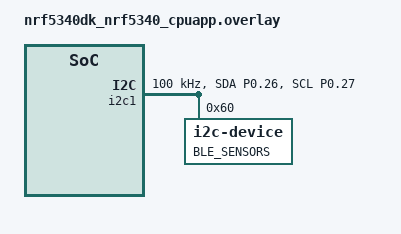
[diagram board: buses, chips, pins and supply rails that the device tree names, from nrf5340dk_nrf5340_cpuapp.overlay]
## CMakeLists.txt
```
cmake_minimum_required(VERSION 3.20)

# If the policy is passed via -D on the command line, 
# set it as an environment variable so child images inherit it.
if(CMAKE_POLICY_VERSION_MINIMUM)
    set(ENV{CMAKE_POLICY_VERSION_MINIMUM} ${CMAKE_POLICY_VERSION_MINIMUM})
endif()

find_package(Zephyr REQUIRED HINTS $ENV{ZEPHYR_BASE})
project(si1145_sample)

target_sources(app PRIVATE 
    src/main.c
    src/settings.c
)
```

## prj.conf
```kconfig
# Enable the I2C driver
CONFIG_I2C=y
CONFIG_SENSOR=y
CONFIG_SENSOR_ASYNC_API=y
CONFIG_SERIAL=y
CONFIG_UART_CONSOLE=y
CONFIG_SHELL=y
CONFIG_DEBUG_THREAD_INFO=y
CONFIG_PRINTK=y
CONFIG_CONSOLE=y
CONFIG_LOG=y

# --- Bluetooth ---
CONFIG_BT=y
CONFIG_BT_PERIPHERAL=y
CONFIG_BT_EXT_ADV=n
CONFIG_BT_BROADCASTER=y
#CONFIG_BT_DEVICE_NAME="BLE_FFF8"
CONFIG_BT_DEVICE_NAME_DYNAMIC=n
#CONFIG_BT_GATT=y

# --- Flash and settings ---
CONFIG_SETTINGS=y
CONFIG_SETTINGS_NVS=y
CONFIG_NVS=y
CONFIG_FLASH=y
CONFIG_FLASH_MAP=y
```

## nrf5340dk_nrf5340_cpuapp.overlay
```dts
/*
 * Devicetree overlay for the Si1145 sensor
 *
 * This overlay uses I2C1 to avoid conflict with UART0 on I2C0.
 */

&pinctrl {
	i2c1_default: i2c1_default {
		group1 {
			psels = <NRF_PSEL(TWIM_SDA, 0, 26)>,
					<NRF_PSEL(TWIM_SCL, 0, 27)>;
		};
	};
	i2c1_sleep: i2c1_sleep {
        group1 {
            psels = <NRF_PSEL(TWIM_SDA, 0, 26)>,
                    <NRF_PSEL(TWIM_SCL, 0, 27)>;
            low-power-enable;
        };
    };

};

&i2c1 {
    status = "okay";
    clock-frequency = <I2C_BITRATE_STANDARD>;
    pinctrl-0 = <&i2c1_default>;
    pinctrl-1 = <&i2c1_sleep>;
    pinctrl-names = "default", "sleep";

    uv_sensor: uv_sensor@60 {
        compatible = "i2c-device";
        reg = <0x60>;
        label = "BLE_SENSORS";
    };
};
```

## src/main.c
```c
/*
 * Copyright (c) 2012-2014 Wind River Systems, Inc.
 *
 * SPDX-License-Identifier: Apache-2.0
 */

#include <zephyr/kernel.h>
#include <zephyr/device.h>
#include <zephyr/drivers/sensor.h>
#include <zephyr/sys/printk.h>
#include <zephyr/drivers/i2c.h>
#include <zephyr/bluetooth/bluetooth.h>
#include <zephyr/bluetooth/conn.h>
#include <zephyr/bluetooth/gatt.h>
#include <zephyr/bluetooth/hci.h>
#include <zephyr/settings/settings.h>
#include "settings.h"

#define APP_FW_VERSION "0.1.0"
#define I2C_NODE DT_NODELABEL(i2c1)
#define AS7331_ADDR 0x74

#define BT_UUID_SERVICE_VAL 0xFFF8
#define BT_UUID_DATA_CHAR_VAL    0xFFF9
#define BT_UUID_CONFIG_CHAR_VAL    0xFFFA

static struct bt_uuid_16 ble_svc_uuid = BT_UUID_INIT_16(BT_UUID_SERVICE_VAL);
static struct bt_uuid_16 ble_data_chr_uuid = BT_UUID_INIT_16(BT_UUID_DATA_CHAR_VAL);
static struct bt_uuid_16 ble_config_chr_uuid = BT_UUID_INIT_16(BT_UUID_CONFIG_CHAR_VAL);

static char s_device_name[20];

// Bluetooth UV Service and Characteristic definitions would go here
static struct bt_conn *current_conn;
static bool notify_enabled;

static struct k_work_delayable adv_restart_work;

const struct bt_gatt_service_static ble_svc;

static int adv_start(void);

static void ccc_cfg_changed(const struct bt_gatt_attr *attr, uint16_t value)
{
	notify_enabled = (value == BT_GATT_CCC_NOTIFY);
	printk("Notify %s\n", notify_enabled ? "enabled" : "disabled");
}

static void connected(struct bt_conn *conn, uint8_t err)
{
	if (err) {
		printk("BLE connect failed (err %u)\n", err);
		return;
	}
	if (current_conn) {
		printk("Already connected, disconnecting new conn\n");
		bt_conn_disconnect(conn, BT_HCI_ERR_REMOTE_USER_TERM_CONN);
		return;
	}

	current_conn = bt_conn_ref(conn);
	printk("BLE connected\n");

	(void)bt_le_adv_stop();
	printk("Advertise stop\n");
}

static void disconnected(struct bt_conn *conn, uint8_t reason)
{
	printk("BLE disconnected (reason %u)\n", reason);
	notify_enabled = false;

	if (current_conn) {
		bt_conn_unref(current_conn);
		current_conn = NULL;
	}

	/* Restart advertising after 200 ms */
	k_work_reschedule(&adv_restart_work, K_MSEC(200));
}

BT_CONN_CB_DEFINE(conn_cb) = {
	.connected = connected,
	.disconnected = disconnected,
};

static uint8_t data_payload[20];
uint8_t config_payload[20];

BT_GATT_SERVICE_DEFINE(ble_svc,
	BT_GATT_PRIMARY_SERVICE(&ble_svc_uuid.uuid),
	BT_GATT_CHARACTERISTIC(&ble_data_chr_uuid.uuid,
			       BT_GATT_CHRC_NOTIFY,
			       BT_GATT_PERM_NONE,
			       NULL, NULL, data_payload),
	BT_GATT_CCC(ccc_cfg_changed,
		    BT_GATT_PERM_READ | BT_GATT_PERM_WRITE),
	BT_GATT_CHARACTERISTIC(&ble_config_chr_uuid.uuid,
			       BT_GATT_CHRC_READ | BT_GATT_CHRC_WRITE | BT_GATT_CHRC_NOTIFY,
			       BT_GATT_PERM_READ | BT_GATT_PERM_WRITE,
			       read_config, write_config, config_payload),
	BT_GATT_CCC(ccc_cfg_changed,
		    BT_GATT_PERM_READ | BT_GATT_PERM_WRITE),
);

/* Advertise service UUID so apps can filter */
static const struct bt_data ad[] = {
    BT_DATA_BYTES(BT_DATA_FLAGS, (BT_LE_AD_GENERAL | BT_LE_AD_NO_BREDR)),
    BT_DATA_BYTES(BT_DATA_UUID16_ALL, BT_UUID_16_ENCODE(BT_UUID_SERVICE_VAL)),
};

static struct bt_data s_sd[] = {
	BT_DATA(BT_DATA_NAME_COMPLETE,
    s_device_name,
    sizeof(s_device_name) - 1),
};


static void adv_restart_work_fn(struct k_work *work)
{
	int err = adv_start();
	if (err) {
		printk("adv restart failed: %d\n", err);
	}
}

static int adv_start(void)
{
	int err;

	/* If already advertising, stop first (safe if not advertising) */
	(void)bt_le_adv_stop();

	err = bt_le_adv_start(BT_LE_ADV_CONN,
			      ad, ARRAY_SIZE(ad),
			      s_sd, ARRAY_SIZE(s_sd));
	if (err) {
		printk("Advertising failed (err %d)\n", err);
		return err;
	}

	printk("Advertising started\n");
	return 0;
}

static int ble_init(void)
{
	int err = bt_enable(NULL);
	if (err) {
		printk("bt_enable failed (err %d)\n", err);
		return err;
	}

	printk("bt_enable success\n");
	printk("BLE name: %s\n", bt_get_name());

	return 0;
}

static void send_data_notify(uint16_t uva, uint16_t uvb, uint16_t uvc)
{
	if (!current_conn || !notify_enabled) {
		return;
	}

	/* little-endian packing example */
	data_payload[0] = (uint8_t)(0x15);
	data_payload[1] = (uint8_t)(2);
	data_payload[2] = (uint8_t)(uva & 0xFF);
	data_payload[3] = (uint8_t)(uva >> 8);
	data_payload[4] = (uint8_t)(0x16);
	data_payload[5] = (uint8_t)(2);
	data_payload[6] = (uint8_t)(uvb & 0xFF);
	data_payload[7] = (uint8_t)(uvb >> 8);
	data_payload[8] = (uint8_t)(0x17);
	data_payload[9] = (uint8_t)(2);
	data_payload[10] = (uint8_t)(uvc & 0xFF);
	data_payload[11] = (uint8_t)(uvc >> 8);

	int err = bt_gatt_notify(current_conn, &ble_svc.attrs[1], data_payload, 12);
	if (err) {
		/* -ENOTCONN if disconnected, -EACCES if CCC off, etc */
		printk("notify err=%d\n", err);
	}
}

int main(void)
{
    const struct device *i2c_dev;
    int ret;
	int err;

	printk("Boot ver %s\n", APP_FW_VERSION);
	err = settings_subsys_init();
	if (err) {
		printk("settings subsys initialization failed (err %d)\n", err);
	}
	err = settings_load();
	if (err) {
		printk("settings_load failed (err %d)\n", err);
	}

	int val = 0;
	err = load_setting_int("app/init", &val);
	err = -1; // test only
	if (val == 0 || err < 0) { // if init config value is 0, default is not set yet.
		set_default_config();
		settings_load();
	}

    i2c_dev = DEVICE_DT_GET(I2C_NODE);
    if (!device_is_ready(i2c_dev)) {
        printk("I2C device not ready\n");
        return 0;
    }
    printk("I2C device ready\n");

	k_work_init_delayable(&adv_restart_work, adv_restart_work_fn);

	if (ble_init() != 0) {
		printk("BLE init failed\n");
		return 0;
	}
    printk("BLE ready\n");

	load_setting_str("app/device_name", s_device_name, sizeof(s_device_name));
	printk("chk device_name: %s\n", s_device_name);
	if (strncmp(s_device_name, "sensor_0", 20) == 0) {
		make_default_device_name(s_device_name, sizeof(s_device_name));
		save_setting_str(SETTINGS_KEY_DEVICE_NAME, s_device_name);
		printk("new device_name: %s\n", s_device_name);
	}
	
	/* Update advertising name data */
	s_sd[0].data_len = strlen(s_device_name);
	s_sd[0].data = (const uint8_t *)s_device_name;

	adv_start();

	// State check for AS7331
	uint8_t reg = 0x00;   // example ID register
	uint16_t state;
	ret = i2c_write_read(i2c_dev, AS7331_ADDR, &reg, 1, &state, 2);
    if (ret) {
        printk("I2C, AS7331_ADDR read failed: %d\n", ret);
        return 0;
    }
    printk("AS7331_ADDR Sensor reg = 0x%02X\n", reg);
	printk("AS7331_ADDR Sensor state = 0x%04X\n", state);

	uint8_t osr;

	// CONFIG + power-up AS7331
	osr = 0x02;
	i2c_reg_write_byte(i2c_dev, AS7331_ADDR, 0x00, osr);

	// (configure CREG registers here)

	int cnt = 0;
	while(1) {
		// MEASUREMENT + start
		osr = 0x83;
		i2c_reg_write_byte(i2c_dev, AS7331_ADDR, 0x00, osr);

		// Wait for measurement to complete
		int j = 0;
		for (j=0;j<100;++j) {
			k_msleep(10);
			ret = i2c_write_read(i2c_dev, AS7331_ADDR, &reg, 1, &state, 2);
			printk("AS7331_ADDR Sensor state = 0x%04X j=%d\n", state, j);
			if ((state & 0x0800) != 0) { // check NDATA bit on STATUS for measurement complete
				break;
			}
		}

		/* 3. Read UV data registers */
		uint8_t buf[6];

		int rc = i2c_burst_read(i2c_dev,
                        AS7331_ADDR,
                        0x02,   // MRES1
                        buf,
                        6);
		printk("i2c_burst_read=%02x %02x %02x %02x %02x %02x\n", buf[0], buf[1], buf[2], buf[3], buf[4], buf[5]);
		if (rc == 0) {
    		uint16_t uva = buf[0] | (buf[1] << 8);
    		uint16_t uvb = buf[2] | (buf[3] << 8);
    		uint16_t uvc = buf[4] | (buf[5] << 8);

			printk("UVA=%u UVB=%u UVC=%u wait=%d ms\n", uva, uvb, uvc, j*10);
			send_data_notify(uva, uvb, uvc);
		}
		int sleep_sec;
		load_setting_int("app/interval_seconds", &sleep_sec);
		k_sleep(K_SECONDS(sleep_sec));
		cnt ++;
	}
}
```

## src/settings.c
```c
#include <zephyr/settings/settings.h>
#include <zephyr/sys/printk.h>
#include <zephyr/bluetooth/att.h>
#include <zephyr/bluetooth/bluetooth.h>
#include <zephyr/bluetooth/hci.h>
#include <string.h>
#include <errno.h>
#include "settings.h"
#include <stdio.h>

struct direct_load_ctx {
	const char *key;
	void *dest;
	size_t len;
	bool found;
};

static int direct_loader(const char *key, size_t len, settings_read_cb read_cb,
			  void *cb_arg, void *param)
{
	struct direct_load_ctx *ctx = (struct direct_load_ctx *)param;

	/* 
	 * Since we call settings_load_subtree_direct with the full key,
	 * any callback we receive is for our target. We ignore the 'key'
	 * string argument to remain compatible with all Zephyr backends.
	 */
	ssize_t read_len = read_cb(cb_arg, ctx->dest, ctx->len);
	if (read_len >= 0) {
		ctx->found = true;
		return 0;
	}

	return (int)read_len;
}

int save_setting_int(const char *key, int value)
{
	return settings_save_one(key, &value, sizeof(value));
}

int load_setting_int(const char *key, int *value)
{
	struct direct_load_ctx ctx = {
		.key = key,
		.dest = value,
		.len = sizeof(int),
		.found = false,
	};

	// We use settings_load_subtree to find the specific key
	int err = settings_load_subtree_direct(key, direct_loader, &ctx);
	if (err) {
		printk("Error loading setting '%s': %d\n", key, err);
		return err;
	}

	return ctx.found ? 0 : -ENOENT;
}

int save_setting_str(const char *key, const char *value)
{
	return settings_save_one(key, value, strlen(value));
}

int load_setting_str(const char *key, char *dest, size_t max_len)
{
	printk("load_setting_str called key=%s\n", key);
	struct direct_load_ctx ctx = {
		.key = key,
		.dest = dest,
		.len = max_len - 1, // Leave space for null terminator
		.found = false,
	};

	memset(dest, 0, max_len);

	int err = settings_load_subtree_direct(key, direct_loader, &ctx);
	if (err) {
		printk("Error loading setting '%s': %d\n", key, err);
		return err;
	}

	return ctx.found ? 0 : -ENOENT;
}

ssize_t read_config(struct bt_conn *conn, const struct bt_gatt_attr *attr,
			 void *buf, uint16_t len, uint16_t offset)
{
	printk("read_config (len %u): ", len);
	for (int i = 0; i < len; i++) {
		printk("%02X ", ((uint8_t *)buf)[i]);
	}
	printk("\n");

	return bt_gatt_attr_read(conn, attr, buf, len, offset, config_payload,
				 sizeof(config_payload));
}

ssize_t write_config(struct bt_conn *conn, const struct bt_gatt_attr *attr,
			 const void *buf, uint16_t len, uint16_t offset,
			 uint8_t flags)
{
	if (offset + len > sizeof(config_payload)) {
		return BT_GATT_ERR(BT_ATT_ERR_INVALID_OFFSET);
	}

	memcpy(config_payload + offset, buf, len);
	printk("central read/write config (len %u): ", len);
	for (int i = 0; i < len; i++) {
		printk("%02X ", ((uint8_t *)buf)[i]);
	}
	printk("\n");
	uint8_t cmd = config_payload[0];
	uint8_t id = config_payload[1];

	if (cmd == CONFIG_CMD_READ_VALUE) {
		uint8_t payload_len = 0;
		uint8_t len = 0;
		config_payload[0] = CONFIG_CMD_READ_RESULT;
		if (id == CONFIG_ID_DEVICE_NAME) {
			// return device_name setting
			char device_name[32];
			load_setting_str("app/device_name", device_name, sizeof(device_name));
			printk("device_name: %s\n", device_name);
			len = strlen(device_name);
			config_payload[1] = id;
			config_payload[2] = len;
			memcpy(config_payload + 3, device_name, len);
			payload_len = 3 + len;
		} else if (id == CONFIG_ID_SEND_INTERVAL_SEC) {
			// return interval_seconds setting
			int interval_sec;
			len = 2;
			load_setting_int("app/interval_seconds", &interval_sec);
			config_payload[1] = id;
			config_payload[2] = len;
			config_payload[3] = (uint8_t)(interval_sec & 0xFF);
			config_payload[4] = (uint8_t)(interval_sec >> 8);
			payload_len = 5;
		}
		int err = bt_gatt_notify(conn, &ble_svc.attrs[4], config_payload, payload_len);
		if (err) {
			printk("notify err=%d\n", err);
		}
	}

	if (cmd == CONFIG_CMD_WRITE_VALUE) {
		uint8_t payload_len = config_payload[2];

		if (id == CONFIG_ID_DEVICE_NAME) {
			settings_save_one("app/device_name", config_payload + 3, payload_len);

			// test only code
			char tmp[32];
			load_setting_str("app/device_name", tmp, sizeof(tmp));
			printk("new device_name: %s\n", tmp);

		}
	}

	return len;
}

void make_default_device_name(char *name, size_t len)
{
    bt_addr_le_t addrs[CONFIG_BT_ID_MAX];
    size_t count = CONFIG_BT_ID_MAX;

    bt_id_get(addrs, &count);

    if (count > 0) {
        const bt_addr_le_t *addr = &addrs[0];

        // addr->a.val is little-endian:
        // val[0] = LSB, val[5] = MSB

        snprintf(name, len, "sensor_%02X%02X",
                 addr->a.val[1],  // second byte
                 addr->a.val[0]); // last byte
    } else {
        snprintf(name, len, "sensor_0");
    }
}

#define SETTINGS_KEY_DEVICE_NAME            "app/device_name"
#define SETTINGS_KEY_DEVICE_TIME_SEC        "app/dev_time_sec"
#define SETTINGS_KEY_DEVICE_TIME_USEC       "app/dev_time_usec"
#define SETTINGS_KEY_SEND_INTERVAL_SEC      "app/send_interval_sec"
#define SETTINGS_KEY_SEND_INTERVAL_USEC     "app/send_interval_usec"
#define SETTINGS_KEY_POWER_OFF_TIMER_SEC    "app/power_off_timer_sec"

void set_default_config()
{
	int rc;
	char buf[20];
	make_default_device_name(buf, sizeof(buf));
	printk("set_default_config device_name:%s\n", buf);
	rc = save_setting_int(SETTINGS_KEY_DEVICE_INIT, 1);
	rc = save_setting_str(SETTINGS_KEY_DEVICE_NAME, buf);
	rc = save_setting_int(SETTINGS_KEY_DEVICE_TIME_SEC, 0);
	rc = save_setting_int(SETTINGS_KEY_DEVICE_TIME_USEC, 0);
	rc = save_setting_int(SETTINGS_KEY_SEND_INTERVAL_SEC, 10);
	rc = save_setting_int(SETTINGS_KEY_SEND_INTERVAL_USEC, 0);
	rc = save_setting_int(SETTINGS_KEY_POWER_OFF_TIMER_SEC, 0);
	if (rc) {
		printk("Failed to save device name setting: %d\n", rc);
	}
}
```

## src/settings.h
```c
#ifndef SETTINGS_H
#define SETTINGS_H

#include <zephyr/types.h>
#include <zephyr/bluetooth/bluetooth.h>
#include <zephyr/bluetooth/conn.h>
#include <zephyr/bluetooth/gatt.h>

extern const struct bt_gatt_service_static ble_svc;
extern uint8_t config_payload[20];

typedef enum {
    SENSOR_ID_TIMESTAMP              = 0x10, // UInt32, Unix time
    SENSOR_ID_TIMESTAMP_USEC        = 0x11, // UInt32, microsecond
    SENSOR_ID_TEMPERATURE           = 0x12, // float (4 bytes), Celsius
    SENSOR_ID_HUMIDITY              = 0x13, // float (4 bytes), percent
    SENSOR_ID_LIGHT_VISIBLE         = 0x14, // UInt16
    SENSOR_ID_LIGHT_UVA             = 0x15, // UInt16
    SENSOR_ID_LIGHT_UVB             = 0x16, // UInt16
    SENSOR_ID_LIGHT_UVC             = 0x17  // UInt16
} sensor_id_t;

// ================================
// Command IDs
// ================================
typedef enum {
    CONFIG_CMD_READ_VALUE   = 0x11,
    CONFIG_CMD_READ_RESULT  = 0x12,
    CONFIG_CMD_WRITE_VALUE  = 0x13,
} config_cmd_t;

// ================================
// Config IDs
// ================================
typedef enum {
    CONFIG_ID_DEVICE_NAME              = 0xC0, // String
    CONFIG_ID_DEVICE_TIME_SEC          = 0xC1, // uint32_t (Unix time)
    CONFIG_ID_DEVICE_TIME_USEC         = 0xC2, // uint32_t (microseconds)
    CONFIG_ID_SEND_INTERVAL_SEC        = 0xC3, // uint32_t (seconds)
    CONFIG_ID_SEND_INTERVAL_USEC       = 0xC4, // uint32_t (microseconds)
    CONFIG_ID_POWER_OFF_TIMER_SEC      = 0xC5, // uint32_t (seconds)
} config_id_t;

#define SETTINGS_KEY_DEVICE_INIT            "app/init"
#define SETTINGS_KEY_DEVICE_NAME            "app/device_name"
#define SETTINGS_KEY_DEVICE_TIME_SEC        "app/dev_time_sec"
#define SETTINGS_KEY_DEVICE_TIME_USEC       "app/dev_time_usec"
#define SETTINGS_KEY_SEND_INTERVAL_SEC      "app/send_interval_sec"
#define SETTINGS_KEY_SEND_INTERVAL_USEC     "app/send_interval_usec"
#define SETTINGS_KEY_POWER_OFF_TIMER_SEC    "app/power_off_timer_sec"

/**
 * @brief Save an integer setting.
 * 
 * @param key The setting key (e.g., "app/my_int").
 * @param value The integer value to save.
 * @return 0 on success, negative errno on failure.
 */
int save_setting_int(const char *key, int value);

/**
 * @brief Load an integer setting.
 * 
 * @param key The setting key.
 * @param value Pointer to store the loaded value.
 * @return 0 on success, negative errno on failure.
 */
int load_setting_int(const char *key, int *value);

/**
 * @brief Save a string setting.
 * 
 * @param key The setting key.
 * @param value The string value to save.
 * @return 0 on success, negative errno on failure.
 */
int save_setting_str(const char *key, const char *value);

/**
 * @brief Load a string setting.
 * 
 * @param key The setting key.
 * @param dest Buffer to store the loaded string.
 * @param max_len Maximum length of the destination buffer.
 * @return 0 on success, negative errno on failure.
 */
int load_setting_str(const char *key, char *dest, size_t max_len);

ssize_t read_config(struct bt_conn *conn, const struct bt_gatt_attr *attr, void *buf, uint16_t len, uint16_t offset);

ssize_t write_config(struct bt_conn *conn, const struct bt_gatt_attr *attr, const void *buf, uint16_t len, uint16_t offset, uint8_t flags);

void set_default_config();
void make_default_device_name(char *name, size_t len);

#endif /* SETTINGS_H */
```
